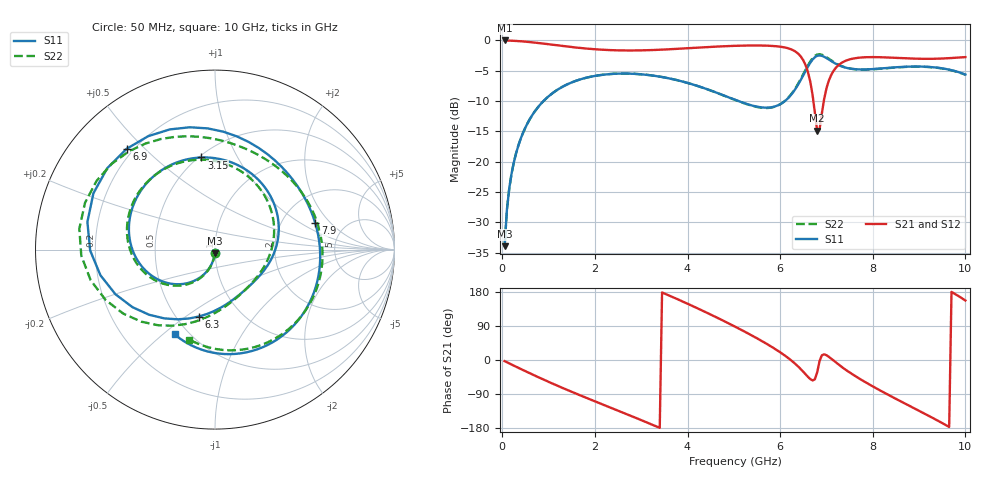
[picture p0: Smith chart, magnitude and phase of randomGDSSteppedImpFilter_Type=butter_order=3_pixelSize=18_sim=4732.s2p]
! freq	dB(S11)	phase(S11)	dB(S12)	phase(S12)
!  dB(S21)	phase(S21)	dB(S22)	phase(S22)
!S-par simulation data
#  GHz  S  DB  R 50
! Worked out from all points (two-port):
!   200 points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, 50 MHz to 10 GHz, reference 50 ohm
!   highest |S21| = -0.01 dB at 50 MHz (marker M1); lowest = -14.9 dB at 6.8 GHz (marker M2)
!   |S21| within 3 dB of the highest: start of sweep to 6.477 GHz; 7.567 GHz to 8.917 GHz (1.35 GHz wide, 16.4 % of centre) (the widest 2 of 3)
!   lowest |S11| = -33.9 dB at 50 MHz (marker M3), VSWR 1.04, Z = 49.9 - j2.01 ohm
!   |S11| at or under -10 dB: start of sweep to 889.4 MHz; 5.101 GHz to 6.102 GHz (1.001 GHz wide, 17.9 % of centre)
!   |S22| runs from -33.9 to -2.3 dB; largest |S21 - S12| = 0
!   S11 on the Smith chart (normalised r, x): 50 MHz: 1.00, -0.04; 3.15 GHz: 0.51, +0.72; 6.3 GHz: 0.64, -0.56; 6.9 GHz: 0.17, +0.44; 7.9 GHz: 3.06, +1.37; 10 GHz: 0.42, -0.55
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0.05  -33.91 -93.1  -0.01 -3.0  -0.01 -3.0  -33.92 -92.9
0.2  -21.96 -102.6  -0.05 -12.0  -0.05 -12.0  -21.96 -102.0
0.5  -14.34 -120.8  -0.20 -29.6  -0.20 -29.6  -14.34 -119.4
1.1  -8.61 -155.2  -0.73 -63.1  -0.73 -63.1  -8.60 -152.1
1.75  -6.28 170.2  -1.30 -96.7  -1.30 -96.7  -6.27 175.3
3.15  -5.70 98.4  -1.61 -166.2  -1.61 -166.2  -5.70 108.5
3.4  -5.97 85.2  -1.54 -179.1  -1.54 -179.1  -5.97 96.2
4.2  -7.46 41.2  -1.20 137.3  -1.20 137.3  -7.47 54.3
5.05  -9.86 -7.6  -0.89 86.6  -0.89 86.6  -9.88 3.8
5.65  -11.07 -44.3  -0.85 46.9  -0.85 46.9  -11.13 -38.6
6  -10.52 -70.9  -1.03 20.4  -1.03 20.4  -10.54 -68.1
6.3  -8.33 -103.5  -1.70 -7.2  -1.70 -7.2  -8.22 -99.1
6.55  -5.02 -145.1  -4.09 -37.8  -4.09 -37.8  -4.82 -135.7
6.7  -3.15 -179.6  -8.98 -53.9  -8.98 -53.9  -2.93 -166.2
6.8  -2.54 155.2  -14.89 -32.7  -14.89 -32.7  -2.33 171.2
6.9  -2.54 131.2  -12.05 12.3  -12.05 12.3  -2.35 149.8
7.05  -3.15 101.6  -6.65 8.6  -6.65 8.6  -3.01 123.3
7.3  -4.20 66.9  -3.83 -15.6  -3.83 -15.6  -4.15 92.1
7.9  -4.77 14.9  -2.76 -62.7  -2.76 -62.7  -4.80 41.6
8.35  -4.51 -14.3  -2.82 -92.9  -2.82 -92.9  -4.55 9.9
9.3  -4.42 -69.8  -3.03 -153.2  -3.03 -153.2  -4.44 -53.6
10  -5.62 -115.4  -2.75 157.1  -2.75 157.1  -5.66 -105.9
